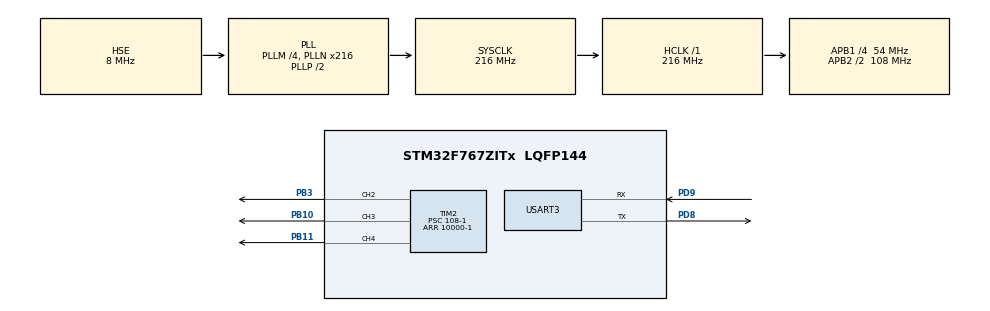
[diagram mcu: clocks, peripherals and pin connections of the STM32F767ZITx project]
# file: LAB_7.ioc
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CORTEX_M7.default_mode_Activation=1
Mcu.Family=STM32F7
Mcu.Name=STM32F767ZITx
Mcu.Package=LQFP144
NVIC.PriorityGroup=NVIC_PRIORITYGROUP_2
NVIC.USART3_IRQn=true\:1\:0\:true\:false\:true\:true\:true\:true
PB10.GPIO_Speed=GPIO_SPEED_FREQ_VERY_HIGH
PB10.Signal=S_TIM2_CH3
PB11.Signal=S_TIM2_CH4
PB3.Signal=S_TIM2_CH2
PD8.Mode=Asynchronous
PD8.Signal=USART3_TX
PD9.Mode=Asynchronous
PD9.Signal=USART3_RX
PH0/OSC_IN.Mode=HSE-External-Oscillator
PH0/OSC_IN.Signal=RCC_OSC_IN
PH1/OSC_OUT.Mode=HSE-External-Oscillator
PH1/OSC_OUT.Signal=RCC_OSC_OUT
ProjectManager.HeapSize=0x200
ProjectManager.StackSize=0x400
ProjectManager.TargetToolchain=STM32CubeIDE
RCC.AHBFreq_Value=216000000
RCC.APB1CLKDivider=RCC_HCLK_DIV4
RCC.APB1Freq_Value=54000000
RCC.APB1TimFreq_Value=108000000
RCC.APB2CLKDivider=RCC_HCLK_DIV2
RCC.APB2Freq_Value=108000000
RCC.APB2TimFreq_Value=216000000
RCC.CortexFreq_Value=216000000
RCC.HCLKFreq_Value=216000000
RCC.HSE_VALUE=8000000
RCC.HSI_VALUE=16000000
RCC.LSE_VALUE=32768
RCC.PLLM=4
RCC.PLLN=216
RCC.PLLSourceVirtual=RCC_PLLSOURCE_HSE
RCC.SYSCLKFreq_VALUE=216000000
RCC.SYSCLKSource=RCC_SYSCLKSOURCE_PLLCLK
RCC.USBFreq_Value=216000000
RCC.VCOOutputFreq_Value=432000000
SH.S_TIM2_CH2.0=TIM2_CH2,PWM Generation2 CH2
SH.S_TIM2_CH3.0=TIM2_CH3,PWM Generation3 CH3
SH.S_TIM2_CH4.0=TIM2_CH4,PWM Generation4 CH4
TIM2.Channel-PWM\ Generation2\ CH2=TIM_CHANNEL_2
TIM2.Channel-PWM\ Generation3\ CH3=TIM_CHANNEL_3
TIM2.Channel-PWM\ Generation4\ CH4=TIM_CHANNEL_4
TIM2.Period=10000-1
TIM2.Prescaler=108-1
TIM2.Pulse-PWM\ Generation3\ CH3=10000/4-1
USART3.VirtualMode-Asynchronous=VM_ASYNC
VP_TIM2_VS_ClockSourceINT.Mode=Internal
board=custom

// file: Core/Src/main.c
/* USER CODE BEGIN Header */
/**
  ******************************************************************************
  * @file           : main.c
  * @brief          : Main program body
  ******************************************************************************
  * @attention
  *
  * Copyright (c) 2026 STMicroelectronics.
  * All rights reserved.
  *
  * This software is licensed under terms that can be found in the LICENSE file
  * in the root directory of this software component.
  * If no LICENSE file comes with this software, it is provided AS-IS.
  *
  ******************************************************************************
  */
/* USER CODE END Header */
#include "main.h"

TIM_HandleTypeDef htim2;

UART_HandleTypeDef huart3;

/* USER CODE BEGIN PV */
uint8_t pwm;
uint8_t pwm_R;
uint8_t pwm_G;
uint8_t pwm_B;
float dutyCycle = 2.0;
float dutyCycle_R = 0.0;
float dutyCycle_G = 0.0;
float dutyCycle_B = 0.0;
char rx_buff;
/* USER CODE END PV */

void SystemClock_Config(void);
static void MPU_Config(void);
static void MX_GPIO_Init(void);
static void MX_TIM2_Init(void);
static void MX_USART3_UART_Init(void);

int main(void)
{

  /* MPU Configuration--------------------------------------------------------*/
  MPU_Config();

  /* MCU Configuration--------------------------------------------------------*/

  /* Reset of all peripherals, Initializes the Flash interface and the Systick. */
  HAL_Init();

  /* Configure the system clock */
  SystemClock_Config();

  /* Initialize all configured peripherals */
  MX_GPIO_Init();
  MX_TIM2_Init();
  MX_USART3_UART_Init();
  /* USER CODE BEGIN 2 */
  HAL_UART_Receive_IT(&huart3, (uint8_t*)&rx_buff, 1);
  /* USER CODE END 2 */

  /* Infinite loop */
  while (1)
  {

    /* USER CODE BEGIN 3 */
//	htim2.Instance->CCR2 = (10000-1) * dutyCycle_R;
//	htim2.Instance->CCR3 = (10000-1) * dutyCycle_G;
//	htim2.Instance->CCR4 = (10000-1) * dutyCycle_B;

	htim2.Instance->CCR3 = (10000-1) * dutyCycle;

//	HAL_TIM_PWM_Start(&htim2, TIM_CHANNEL_2);
	HAL_TIM_PWM_Start(&htim2, TIM_CHANNEL_3);
//	HAL_TIM_PWM_Start(&htim2, TIM_CHANNEL_4);
	HAL_Delay(100);
//	HAL_TIM_PWM_Stop(&htim2, TIM_CHANNEL_2);
	HAL_TIM_PWM_Stop(&htim2, TIM_CHANNEL_3);
//	HAL_TIM_PWM_Stop(&htim2, TIM_CHANNEL_4);

	pwm = (GPIOB->IDR & GPIO_PIN_10) >> 10;

//	pwm_R = (GPIOB->IDR & GPIO_PIN_3) >> 3;
//	pwm_G = (GPIOB->IDR & GPIO_PIN_10) >> 10;
//	pwm_B = (GPIOB->IDR & GPIO_PIN_11) >> 11;
  }
  /* USER CODE END 3 */
}

void SystemClock_Config(void)
{
  RCC_OscInitTypeDef RCC_OscInitStruct = {0};
  RCC_ClkInitTypeDef RCC_ClkInitStruct = {0};

  /** Configure the main internal regulator output voltage
  */
  __HAL_RCC_PWR_CLK_ENABLE();
  __HAL_PWR_VOLTAGESCALING_CONFIG(PWR_REGULATOR_VOLTAGE_SCALE1);

  /** Initializes the RCC Oscillators according to the specified parameters
  * in the RCC_OscInitTypeDef structure.
  */
  RCC_OscInitStruct.OscillatorType = RCC_OSCILLATORTYPE_HSE;
  RCC_OscInitStruct.HSEState = RCC_HSE_ON;
  RCC_OscInitStruct.PLL.PLLState = RCC_PLL_ON;
  RCC_OscInitStruct.PLL.PLLSource = RCC_PLLSOURCE_HSE;
  RCC_OscInitStruct.PLL.PLLM = 4;
  RCC_OscInitStruct.PLL.PLLN = 216;
  RCC_OscInitStruct.PLL.PLLP = RCC_PLLP_DIV2;
  RCC_OscInitStruct.PLL.PLLQ = 2;
  RCC_OscInitStruct.PLL.PLLR = 2;
  if (HAL_RCC_OscConfig(&RCC_OscInitStruct) != HAL_OK)
  {
    Error_Handler();
  }

  /** Activate the Over-Drive mode
  */
  if (HAL_PWREx_EnableOverDrive() != HAL_OK)
  {
    Error_Handler();
  }

  /** Initializes the CPU, AHB and APB buses clocks
  */
  RCC_ClkInitStruct.ClockType = RCC_CLOCKTYPE_HCLK|RCC_CLOCKTYPE_SYSCLK
                              |RCC_CLOCKTYPE_PCLK1|RCC_CLOCKTYPE_PCLK2;
  RCC_ClkInitStruct.SYSCLKSource = RCC_SYSCLKSOURCE_PLLCLK;
  RCC_ClkInitStruct.AHBCLKDivider = RCC_SYSCLK_DIV1;
  RCC_ClkInitStruct.APB1CLKDivider = RCC_HCLK_DIV4;
  RCC_ClkInitStruct.APB2CLKDivider = RCC_HCLK_DIV2;

  if (HAL_RCC_ClockConfig(&RCC_ClkInitStruct, FLASH_LATENCY_7) != HAL_OK)
  {
    Error_Handler();
  }
}

static void MX_TIM2_Init(void)
{

  TIM_ClockConfigTypeDef sClockSourceConfig = {0};
  TIM_MasterConfigTypeDef sMasterConfig = {0};
  TIM_OC_InitTypeDef sConfigOC = {0};

  htim2.Instance = TIM2;
  htim2.Init.Prescaler = 108-1;
  htim2.Init.CounterMode = TIM_COUNTERMODE_UP;
  htim2.Init.Period = 10000-1;
  htim2.Init.ClockDivision = TIM_CLOCKDIVISION_DIV1;
  htim2.Init.AutoReloadPreload = TIM_AUTORELOAD_PRELOAD_DISABLE;
  if (HAL_TIM_Base_Init(&htim2) != HAL_OK)
  {
    Error_Handler();
  }
  sClockSourceConfig.ClockSource = TIM_CLOCKSOURCE_INTERNAL;
  if (HAL_TIM_ConfigClockSource(&htim2, &sClockSourceConfig) != HAL_OK)
  {
    Error_Handler();
  }
  if (HAL_TIM_PWM_Init(&htim2) != HAL_OK)
  {
    Error_Handler();
  }
  sMasterConfig.MasterOutputTrigger = TIM_TRGO_RESET;
  sMasterConfig.MasterSlaveMode = TIM_MASTERSLAVEMODE_DISABLE;
  if (HAL_TIMEx_MasterConfigSynchronization(&htim2, &sMasterConfig) != HAL_OK)
  {
    Error_Handler();
  }
  sConfigOC.OCMode = TIM_OCMODE_PWM1;
  sConfigOC.Pulse = 0;
  sConfigOC.OCPolarity = TIM_OCPOLARITY_HIGH;
  sConfigOC.OCFastMode = TIM_OCFAST_DISABLE;
  if (HAL_TIM_PWM_ConfigChannel(&htim2, &sConfigOC, TIM_CHANNEL_2) != HAL_OK)
  {
    Error_Handler();
  }
  sConfigOC.Pulse = 10000/4-1;
  if (HAL_TIM_PWM_ConfigChannel(&htim2, &sConfigOC, TIM_CHANNEL_3) != HAL_OK)
  {
    Error_Handler();
  }
  sConfigOC.Pulse = 0;
  if (HAL_TIM_PWM_ConfigChannel(&htim2, &sConfigOC, TIM_CHANNEL_4) != HAL_OK)
  {
    Error_Handler();
  }
  HAL_TIM_MspPostInit(&htim2);

}

static void MX_USART3_UART_Init(void)
{

  huart3.Instance = USART3;
  huart3.Init.BaudRate = 115200;
  huart3.Init.WordLength = UART_WORDLENGTH_8B;
  huart3.Init.StopBits = UART_STOPBITS_1;
  huart3.Init.Parity = UART_PARITY_NONE;
  huart3.Init.Mode = UART_MODE_TX_RX;
  huart3.Init.HwFlowCtl = UART_HWCONTROL_NONE;
  huart3.Init.OverSampling = UART_OVERSAMPLING_16;
  huart3.Init.OneBitSampling = UART_ONE_BIT_SAMPLE_DISABLE;
  huart3.AdvancedInit.AdvFeatureInit = UART_ADVFEATURE_NO_INIT;
  if (HAL_UART_Init(&huart3) != HAL_OK)
  {
    Error_Handler();
  }

}

static void MX_GPIO_Init(void)
{

  /* GPIO Ports Clock Enable */
  __HAL_RCC_GPIOH_CLK_ENABLE();
  __HAL_RCC_GPIOB_CLK_ENABLE();
  __HAL_RCC_GPIOD_CLK_ENABLE();

}

/* USER CODE BEGIN 4 */
void HAL_UART_RxCpltCallback(UART_HandleTypeDef *huart)
{
	HAL_UART_Receive_IT(&huart3, (uint8_t*)&rx_buff, 1);
	if (rx_buff == 'r')
	{
		dutyCycle_R = (dutyCycle_R >= 1.0) ? 0.0 : dutyCycle_R + 0.2;
	}
	else if (rx_buff == 'g')
	{
		dutyCycle_G = (dutyCycle_G >= 1.0) ? 0.0 : dutyCycle_G + 0.2;
	}
	else if (rx_buff == 'b')
	{
		dutyCycle_B = (dutyCycle_B >= 1.0) ? 0.0 : dutyCycle_B + 0.2;
	}

	HAL_UART_Transmit(&huart3, (uint8_t*)&rx_buff, 1, 1000);

	HAL_Delay(50);
}
/* USER CODE END 4 */

 /* MPU Configuration */

void MPU_Config(void)
{
  MPU_Region_InitTypeDef MPU_InitStruct = {0};

  /* Disables the MPU */
  HAL_MPU_Disable();

  /** Initializes and configures the Region and the memory to be protected
  */
  MPU_InitStruct.Enable = MPU_REGION_ENABLE;
  MPU_InitStruct.Number = MPU_REGION_NUMBER0;
  MPU_InitStruct.BaseAddress = 0x0;
  MPU_InitStruct.Size = MPU_REGION_SIZE_4GB;
  MPU_InitStruct.SubRegionDisable = 0x87;
  MPU_InitStruct.TypeExtField = MPU_TEX_LEVEL0;
  MPU_InitStruct.AccessPermission = MPU_REGION_NO_ACCESS;
  MPU_InitStruct.DisableExec = MPU_INSTRUCTION_ACCESS_DISABLE;
  MPU_InitStruct.IsShareable = MPU_ACCESS_SHAREABLE;
  MPU_InitStruct.IsCacheable = MPU_ACCESS_NOT_CACHEABLE;
  MPU_InitStruct.IsBufferable = MPU_ACCESS_NOT_BUFFERABLE;

  HAL_MPU_ConfigRegion(&MPU_InitStruct);
  /* Enables the MPU */
  HAL_MPU_Enable(MPU_PRIVILEGED_DEFAULT);

}

void Error_Handler(void)
{
  __disable_irq();
  while (1)
  {
  }
}
